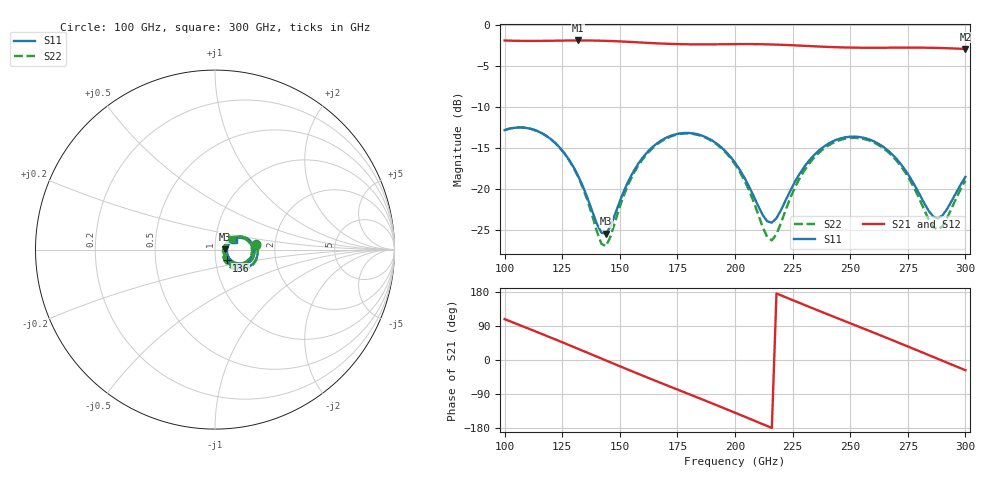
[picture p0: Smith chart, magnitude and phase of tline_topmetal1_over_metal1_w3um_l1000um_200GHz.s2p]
#  GHZ S DB R 50
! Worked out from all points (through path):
!   101 points, 100 GHz to 300 GHz, reference 50 ohm
!   highest |S21| = -1.84 dB at 132 GHz (marker M1); lowest = -2.9 dB at 300 GHz (marker M2)
!   group delay of S21, straight-line fit = 6.87 ps
!   lowest |S11| = -25.4 dB at 144 GHz (marker M3), VSWR 1.11, Z = 55.7 + j0.083 ohm
!   |S11| at or under -10 dB: start of sweep to end of sweep
!   |S22| runs from -26.9 to -12.4 dB; largest |S21 - S12| = 9.2e-14
!   S11 on the Smith chart (normalised r, x): 100 GHz: 1.59, +0.10; 136 GHz: 1.13, -0.14; 300 GHz: 1.23, +0.14
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100  -12.77 7.2  -1.84 107.9  -1.84 107.9  -12.76 5.8
116  -13.12 -22.9  -1.89 69.1  -1.89 69.1  -13.11 -25.3
124  -14.92 -36.4  -1.86 49.3  -1.86 49.3  -14.93 -39.7
132  -18.40 -44.9  -1.84 29.2  -1.84 29.2  -18.51 -49.8
134  -19.64 -44.9  -1.84 24.2  -1.84 24.2  -19.83 -50.5
136  -21.06 -43.1  -1.84 19.1  -1.84 19.1  -21.38 -49.4
142  -25.28 -15.9  -1.87 3.8  -1.87 3.8  -26.63 -21.5
144  -25.39 0.8  -1.89 -1.3  -1.89 -1.3  -26.92 -1.0
156  -17.78 31.7  -2.04 -31.5  -2.04 -31.5  -18.06 33.2
168  -14.03 15.7  -2.21 -61.0  -2.21 -61.0  -14.13 15.5
184  -13.30 -12.3  -2.31 -99.7  -2.31 -99.7  -13.36 -14.3
200  -16.74 -35.7  -2.29 -139.1  -2.29 -139.1  -16.93 -40.6
208  -20.76 -35.1  -2.29 -159.2  -2.29 -159.2  -21.45 -42.9
216  -24.05 -0.5  -2.33 -179.3  -2.33 -179.3  -26.22 -2.0
224  -20.16 28.0  -2.41 160.6  -2.41 160.6  -21.06 33.3
234  -15.90 24.1  -2.54 135.8  -2.54 135.8  -16.23 27.1
244  -13.95 9.6  -2.66 111.4  -2.66 111.4  -14.14 11.1
252  -13.56 -3.7  -2.71 92.1  -2.71 92.1  -13.71 -3.0
268  -15.66 -28.1  -2.72 53.1  -2.72 53.1  -15.85 -29.4
278  -19.51 -33.2  -2.71 28.2  -2.71 28.2  -19.96 -36.5
288  -23.52 -1.7  -2.75 3.1  -2.75 3.1  -24.92 -1.5
300  -18.47 28.1  -2.87 -26.8  -2.87 -26.8  -18.92 32.3
